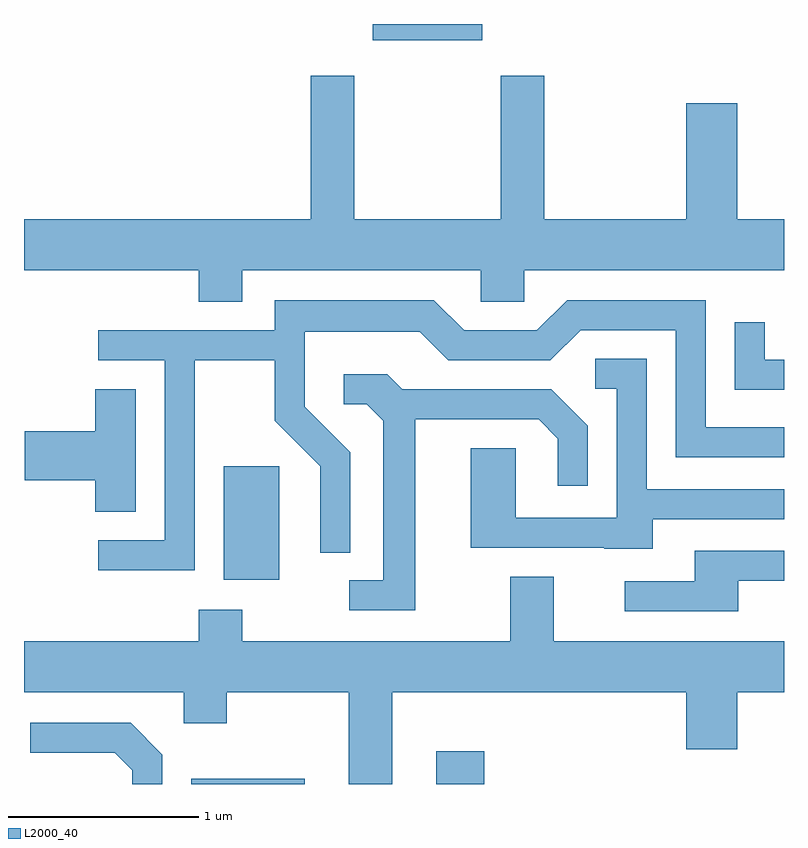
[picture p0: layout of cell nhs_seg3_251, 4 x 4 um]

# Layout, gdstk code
import gdstk
lib = gdstk.Library(unit=1e-6, precision=1e-09)
def R(c, l, rs):  # rectangles x0, y0, x1, y1
    for r in rs: c.add(gdstk.rectangle(r[:2], r[2:], *l))
def P(c, l, *ps):  # polygons
    for p in ps: c.add(gdstk.Polygon(p, *l))
L2000_40 = (2000, 40)

nhs_seg3_251 = lib.new_cell('nhs_seg3_251')
R(nhs_seg3_251, L2000_40, [(192.491,1209.892,193.089,1209.919), (193.781,1209.892,194.034,1210.064), (192.661,1210.966,192.954,1211.564), (193.446,1213.806,194.024,1213.892)])
P(nhs_seg3_251, L2000_40, [(192.759,1212.596),(194.016,1212.596),(194.016,1212.431),(194.244,1212.431),(194.244,1212.596),(195.611,1212.596),(195.611,1212.864),(195.364,1212.864),(195.364,1213.474),(195.096,1213.474),(195.096,1212.864),(194.349,1212.864),(194.349,1213.619),(194.121,1213.619),(194.121,1212.864),(193.349,1212.864),(193.349,1213.619),(193.121,1213.619),(193.121,1212.864),(191.611,1212.864),(191.611,1212.596),(192.531,1212.596),(192.531,1212.431),(192.759,1212.431)],
  [(192.509,1212.121),(192.931,1212.121),(192.931,1211.804),(193.171,1211.564),(193.171,1211.108),(193.329,1211.108),(193.329,1211.637),(193.089,1211.877),(193.089,1212.271),(193.694,1212.271),(193.844,1212.121),(194.382,1212.121),(194.542,1212.281),(195.041,1212.281),(195.041,1211.611),(195.611,1211.611),(195.611,1211.769),(195.199,1211.769),(195.199,1212.439),(194.469,1212.439),(194.309,1212.279),(193.927,1212.279),(193.767,1212.439),(192.931,1212.439),(192.931,1212.279),(192.003,1212.279),(192.003,1212.121),(192.351,1212.121),(192.351,1211.174),(192.003,1211.174),(192.003,1211.016),(192.509,1211.016)],
  [(195.611,1212.124),(195.509,1212.124),(195.509,1212.323),(195.351,1212.323),(195.351,1211.966),(195.611,1211.966)],
  [(194.919,1211.286),(195.611,1211.286),(195.611,1211.444),(194.889,1211.444),(194.889,1212.129),(194.618,1212.129),(194.618,1211.971),(194.731,1211.971),(194.731,1211.294),(194.199,1211.294),(194.199,1211.659),(193.961,1211.659),(193.961,1211.136),(194.665,1211.136),(194.665,1211.131),(194.919,1211.131)],
  [(193.669,1211.811),(194.319,1211.811),(194.421,1211.709),(194.421,1211.463),(194.579,1211.463),(194.579,1211.777),(194.387,1211.969),(193.602,1211.969),(193.522,1212.049),(193.293,1212.049),(193.293,1211.891),(193.414,1211.891),(193.501,1211.804),(193.501,1210.964),(193.323,1210.964),(193.323,1210.806),(193.669,1210.806)],
  [(192.199,1211.969),(191.986,1211.969),(191.986,1211.749),(191.616,1211.749),(191.616,1211.491),(191.986,1211.491),(191.986,1211.326),(192.199,1211.326)],
  [(195.369,1210.961),(195.611,1210.961),(195.611,1211.119),(195.141,1211.119),(195.141,1210.959),(194.773,1210.959),(194.773,1210.801),(195.369,1210.801)],
  [(193.549,1210.376),(195.096,1210.376),(195.096,1210.076),(195.364,1210.076),(195.364,1210.376),(195.611,1210.376),(195.611,1210.644),(194.399,1210.644),(194.399,1210.984),(194.171,1210.984),(194.171,1210.644),(192.759,1210.644),(192.759,1210.809),(192.531,1210.809),(192.531,1210.644),(191.611,1210.644),(191.611,1210.376),(192.451,1210.376),(192.451,1210.211),(192.679,1210.211),(192.679,1210.376),(193.321,1210.376),(193.321,1209.892),(193.549,1209.892)],
  [(192.339,1210.047),(192.172,1210.214),(191.643,1210.214),(191.643,1210.056),(192.089,1210.056),(192.181,1209.964),(192.181,1209.892),(192.339,1209.892)])

lib.write_gds('nhs_seg3_251.gds')
